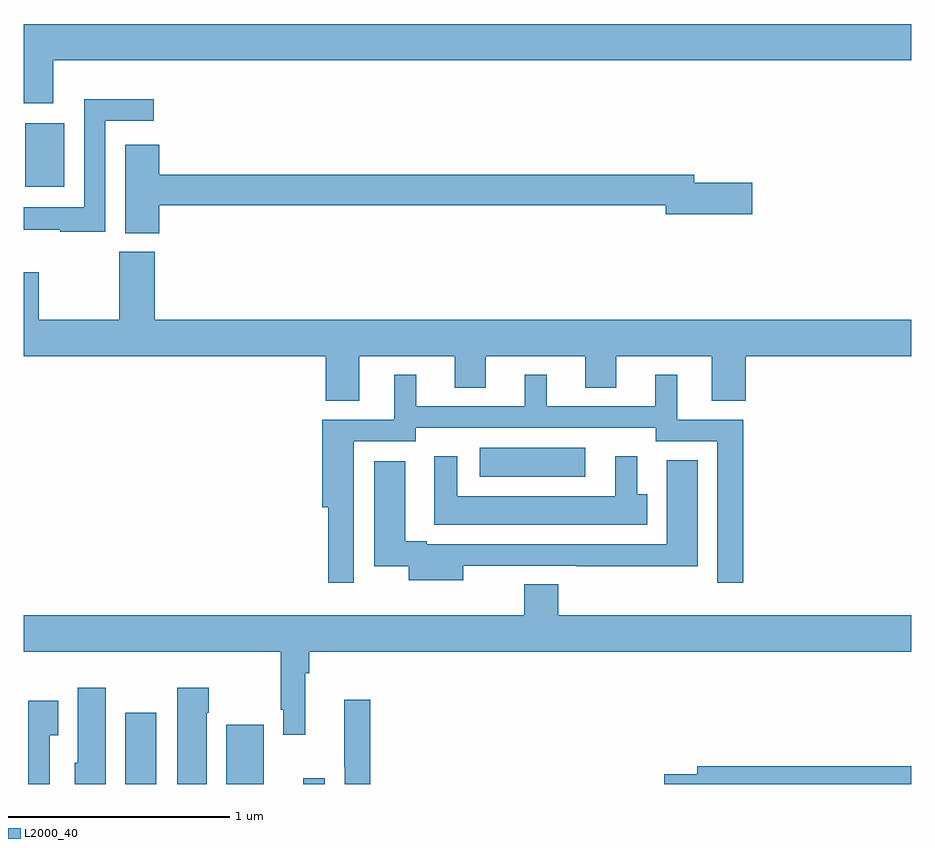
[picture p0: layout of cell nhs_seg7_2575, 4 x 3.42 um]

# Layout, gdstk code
import gdstk
lib = gdstk.Library(unit=1e-6, precision=1e-09)
def R(c, l, rs):  # rectangles x0, y0, x1, y1
    for r in rs: c.add(gdstk.rectangle(r[:2], r[2:], *l))
def P(c, l, *ps):  # polygons
    for p in ps: c.add(gdstk.Polygon(p, *l))
L2000_40 = (2000, 40)

nhs_seg7_2575 = lib.new_cell('nhs_seg7_2575')
R(nhs_seg7_2575, L2000_40, [(279.458,1020,279.598,1020.322), (279.914,1020,280.081,1020.268), (280.259,1020,280.356,1020.025), (281.055,1021.385,281.53,1021.516), (279.008,1022.69,279.184,1022.977)])
P(nhs_seg7_2575, L2000_40, [(279.133,1023.26),(283,1023.26),(283,1023.424),(279,1023.424),(279,1023.066),(279.133,1023.066)],
  [(279.369,1022.988),(279.586,1022.988),(279.586,1023.085),(279.273,1023.085),(279.273,1022.599),(279,1022.599),(279,1022.498),(279.166,1022.498),(279.166,1022.488),(279.369,1022.488)],
  [(279.611,1022.608),(281.894,1022.608),(281.894,1022.566),(282.283,1022.566),(282.283,1022.708),(282.022,1022.708),(282.022,1022.744),(279.611,1022.744),(279.611,1022.881),(279.458,1022.881),(279.458,1022.482),(279.611,1022.482)],
  [(280.513,1021.928),(280.943,1021.928),(280.943,1021.786),(281.083,1021.786),(281.083,1021.928),(281.531,1021.928),(281.531,1021.786),(281.671,1021.786),(281.671,1021.928),(282.101,1021.928),(282.101,1021.726),(282.254,1021.726),(282.254,1021.928),(283,1021.928),(283,1022.092),(279.59,1022.092),(279.59,1022.397),(279.43,1022.397),(279.43,1022.092),(279.069,1022.092),(279.069,1022.305),(279,1022.305),(279,1021.928),(280.361,1021.928),(280.361,1021.726),(280.513,1021.726)],
  [(280.488,1021.545),(280.767,1021.545),(280.767,1021.605),(281.847,1021.605),(281.847,1021.545),(282.126,1021.545),(282.126,1020.906),(282.242,1020.906),(282.242,1021.641),(281.944,1021.641),(281.944,1021.843),(281.846,1021.843),(281.846,1021.701),(281.356,1021.701),(281.356,1021.843),(281.258,1021.843),(281.258,1021.701),(280.768,1021.701),(280.768,1021.843),(280.67,1021.843),(280.67,1021.641),(280.346,1021.641),(280.346,1021.247),(280.372,1021.247),(280.372,1020.906),(280.488,1020.906)],
  [(281.809,1021.305),(281.764,1021.305),(281.764,1021.477),(281.666,1021.477),(281.666,1021.297),(280.954,1021.297),(280.954,1021.477),(280.85,1021.477),(280.85,1021.169),(281.809,1021.169)],
  [(280.981,1020.984),(281.491,1020.984),(281.491,1020.982),(282.037,1020.982),(282.037,1021.459),(281.897,1021.459),(281.897,1021.08),(280.816,1021.08),(280.816,1021.093),(280.72,1021.093),(280.72,1021.453),(280.58,1021.453),(280.58,1020.982),(280.736,1020.982),(280.736,1020.917),(280.981,1020.917)],
  [(280.268,1020.5),(280.286,1020.5),(280.286,1020.596),(283,1020.596),(283,1020.76),(281.408,1020.76),(281.408,1020.899),(281.255,1020.899),(281.255,1020.76),(279,1020.76),(279,1020.596),(280.158,1020.596),(280.158,1020.334),(280.17,1020.334),(280.17,1020.222),(280.268,1020.222)],
  [(279.826,1020.32),(279.834,1020.32),(279.834,1020.433),(279.692,1020.433),(279.692,1020),(279.826,1020)],
  [(279.37,1020.433),(279.245,1020.433),(279.245,1020.096),(279.23,1020.096),(279.23,1020),(279.37,1020)],
  [(280.562,1020.379),(280.445,1020.379),(280.445,1020.076),(280.446,1020.076),(280.446,1020),(280.562,1020)],
  [(279.117,1020.22),(279.157,1020.22),(279.157,1020.376),(279.021,1020.376),(279.021,1020),(279.117,1020)],
  [(283,1020.08),(282.035,1020.08),(282.035,1020.044),(281.886,1020.044),(281.886,1020),(283,1020)])

lib.write_gds('nhs_seg7_2575.gds')
